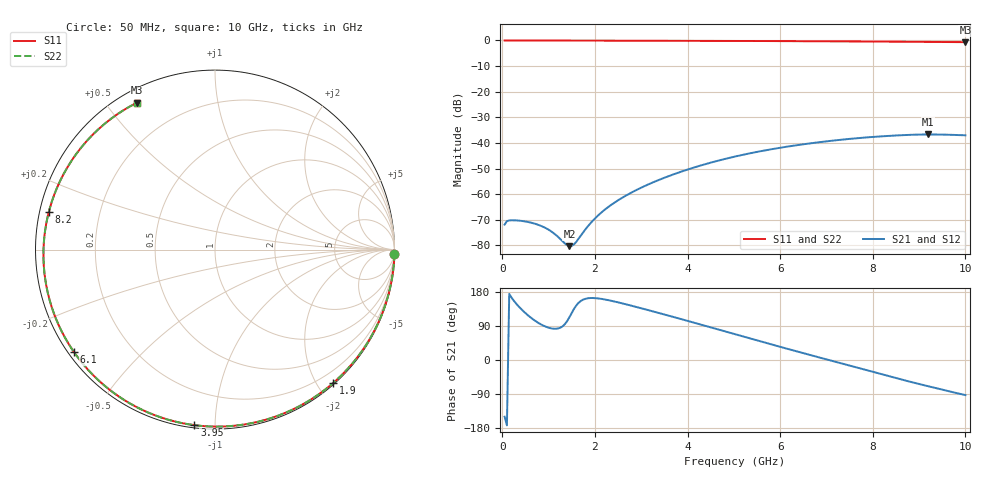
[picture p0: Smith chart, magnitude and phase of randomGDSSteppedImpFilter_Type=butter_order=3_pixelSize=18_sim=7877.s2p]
! freq	dB(S11)	phase(S11)	dB(S12)	phase(S12)
!  dB(S21)	phase(S21)	dB(S22)	phase(S22)
!S-par simulation data
#  GHz  S  DB  R 50
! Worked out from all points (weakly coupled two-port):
!   200 points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, 50 MHz to 10 GHz, reference 50 ohm
!   highest |S21| = -36.70 dB at 9.2 GHz (marker M1); lowest = -80.3 dB at 1.45 GHz (marker M2)
!   lowest |S11| = -0.7 dB at 10 GHz (marker M3), VSWR 26.26, Z = 2.59 + j30 ohm
!   |S11| at or under -10 dB: nowhere
!   |S22| runs from -0.7 to 0.0 dB; largest |S21 - S12| = 0
!   S11 on the Smith chart (normalised r, x): 50 MHz: 0, -88; 1.9 GHz: 0.02, -2.23; 3.95 GHz: 0.01, -0.89; 6.1 GHz: 0.02, -0.32; 8.2 GHz: 0.03, +0.11; 10 GHz: 0.05, +0.60
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0.05  -0.00 -1.3  -71.90 -149.6  -71.90 -149.6  -0.00 -1.3
0.1  -0.00 -2.6  -70.54 -172.5  -70.54 -172.5  -0.00 -2.6
0.2  -0.00 -5.2  -70.19 164.6  -70.19 164.6  -0.00 -5.2
0.75  -0.02 -19.4  -71.79 100.1  -71.79 100.1  -0.02 -19.4
1.05  -0.03 -27.1  -74.45 83.6  -74.45 83.6  -0.03 -27.1
1.4  -0.05 -35.9  -79.92 102.6  -79.92 102.6  -0.05 -35.9
1.45  -0.05 -37.2  -80.30 112.9  -80.30 112.9  -0.05 -37.2
1.55  -0.05 -39.7  -79.56 135.2  -79.56 135.2  -0.05 -39.7
1.75  -0.06 -44.7  -74.81 159.6  -74.81 159.6  -0.06 -44.7
1.9  -0.06 -48.4  -71.42 163.5  -71.42 163.5  -0.06 -48.4
2.15  -0.07 -54.5  -66.99 161.1  -66.99 161.1  -0.07 -54.5
2.5  -0.08 -62.9  -62.39 152.1  -62.39 152.1  -0.08 -62.9
3.4  -0.11 -84.1  -54.30 123.4  -54.30 123.4  -0.11 -84.1
3.95  -0.13 -96.7  -50.69 105.0  -50.69 105.0  -0.13 -96.7
5.05  -0.19 -121.1  -45.21 67.2  -45.21 67.2  -0.19 -121.1
6.1  -0.25 -144.1  -41.60 31.4  -41.60 31.4  -0.25 -144.1
6.7  -0.30 -157.4  -40.04 11.5  -40.04 11.5  -0.30 -157.4
7.45  -0.37 -174.6  -38.51 -13.1  -38.51 -13.1  -0.37 -174.5
8.2  -0.45 167.4  -37.41 -37.7  -37.41 -37.7  -0.45 167.4
8.35  -0.47 163.6  -37.24 -42.6  -37.24 -42.6  -0.47 163.6
9.2  -0.57 141.1  -36.70 -69.3  -36.70 -69.3  -0.57 141.1
10  -0.66 117.9  -37.02 -92.6  -37.02 -92.6  -0.66 117.9
